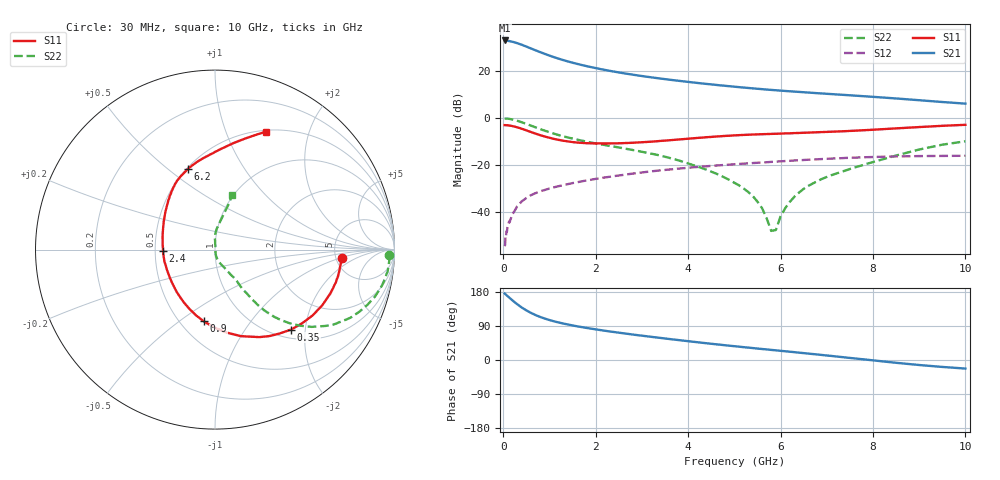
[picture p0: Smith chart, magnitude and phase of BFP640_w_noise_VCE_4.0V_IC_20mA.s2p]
! (c) 2013  Infineon Technologies AG, Munich
! Infineon Technologies  Discrete & RF Semiconductors
! BFP640
! VCE =  4.0 V,  IC =  20 mA
! Common Emitter S-Parameters:  Apr 2013
# GHz  S  MA  R  50
!  f  S11  S21  S12  S22
! GHz  MAG  ANG  MAG  ANG  MAG  ANG  MAG  ANG
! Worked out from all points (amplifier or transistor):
!   99 points, 30 MHz to 10 GHz, reference 50 ohm
!   highest |S21| = 32.9 dB at 30 MHz (marker M1)
!   |S21| within 3 dB of that: start of sweep to 550.9 MHz
!   unconditionally stable (mu >= 1): 2.71 GHz to end of sweep
!   at 350 MHz: K = 0.30, MSG = 34.0 dB, |S12| = -36.5 dB
!   at 3.5 GHz: K = 1.04, MAG = 18.1 dB, |S12| = -22.1 dB
!   at 10 GHz: K = 1.07, MAG = 9.4 dB, |S12| = -16.0 dB
!   lowest NFmin = 0.85 dB at 450 MHz
!   S11 on the Smith chart (normalised r, x): 30 MHz: 5.63, -1.03; 350 MHz: 1.17, -1.68; 900 MHz: 0.65, -0.62; 2.4 GHz: 0.55, -0.01; 6.2 GHz: 0.51, +0.59; 10 GHz: 0.52, +1.40
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0.03  0.7069 -3.7  44.3 175.3  0.0019 62.7  0.9709 -1.9
0.08  0.7017 -10.9  43.88 170.1  0.0039 77.6  0.9699 -6.3
0.2  0.6732 -27.5  41.55 157.3  0.0091 75.9  0.9294 -16.3
0.3  0.6355 -40.3  38.88 147.5  0.0133 71.9  0.8754 -23.3
0.35  0.6151 -46.4  37.35 143.0  0.0149 69.4  0.8449 -26.7
0.4  0.59 -52.4  35.96 138.6  0.017 68.3  0.8117 -29.5
0.45  0.5695 -57.8  34.36 134.7  0.0184 66.5  0.7813 -32.3
0.6  0.5036 -73.3  29.99 124.3  0.023 62.4  0.6887 -38.7
0.7  0.4658 -82.4  27.34 118.6  0.0254 60.7  0.6328 -42.0
0.9  0.4045 -98.9  22.95 109.3  0.0297 57.8  0.5372 -46.9
1  0.3806 -106.3  21.13 105.5  0.0318 57.3  0.4993 -48.6
1.2  0.343 -119.9  18.17 99.0  0.0357 55.8  0.4342 -51.0
1.4  0.3186 -131.9  15.87 93.7  0.0395 54.8  0.3859 -52.4
1.7  0.2964 -148.1  13.32 86.8  0.0452 53.2  0.3306 -53.4
2.4  0.2896 -178.2  9.657 73.8  0.0583 49.4  0.2467 -55.3
3.4  0.3259 151.2  6.884 58.3  0.0772 42.6  0.1586 -58.3
5.1  0.4322 120.1  4.525 35.2  0.1058 29.3  0.0372 -80.5
5.8  0.4599 112.3  3.948 26.6  0.1169 23.8  0.004 -30.8
6.2  0.4731 108.5  3.692 21.9  0.1234 20.4  0.0165 81.8
6.7  0.4941 102.8  3.417 15.7  0.1315 16.0  0.0408 88.8
8.5  0.602 80.2  2.599 -7.4  0.1529 -1.5  0.1596 79.6
10  0.7171 66.5  2.019 -22.6  0.1577 -13.2  0.3201 72.6
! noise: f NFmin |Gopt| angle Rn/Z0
0.45  0.85  0.13  6  0.02
0.9  0.85  0.13  14  0.03
1.5  0.88  0.1  26  0.04
1.9  0.9  0.14  -134  0.05
2.4  0.94  0.19  -119  0.06
3.5  1.06  0.24  -104  0.08
5.5  1.25  0.25  -96  0.15
10  1.74  0.58  -55  0.46
